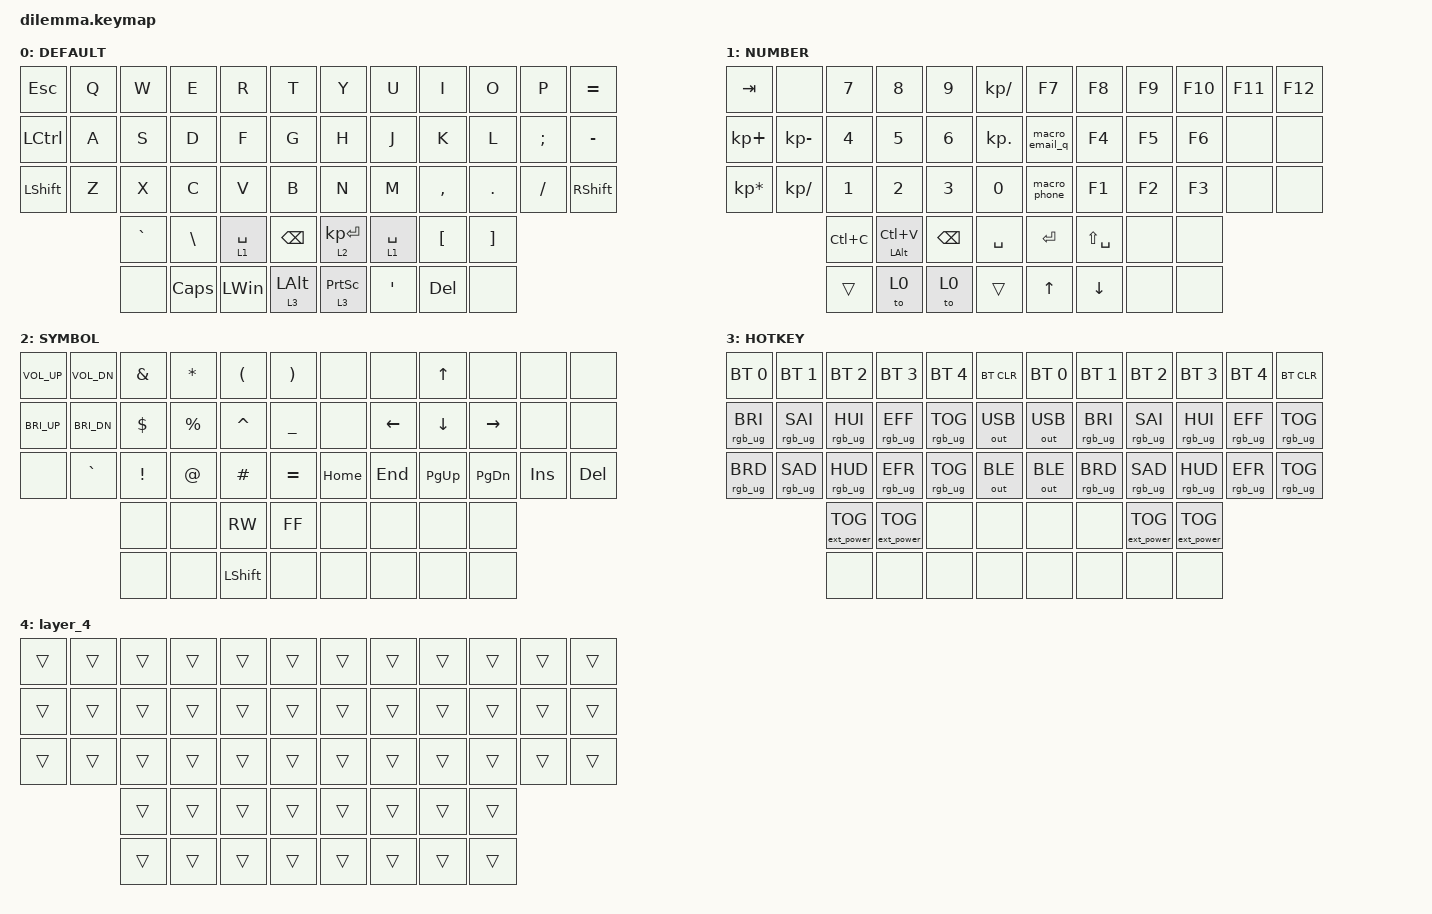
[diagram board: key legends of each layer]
#include <behaviors.dtsi>
#include <dt-bindings/zmk/bt.h>
#include <dt-bindings/zmk/ext_power.h>
#include <dt-bindings/zmk/keys.h>
#include <dt-bindings/zmk/outputs.h>
#include <dt-bindings/zmk/rgb.h>

#define DEFAULT 0
#define NUMBER  1
#define SYMBOL  2
#define HOTKEY  3

#define AS(keycode) &as LS(keycode) keycode

/ {
    behaviors {
        td0: tap_dance_0 {
            compatible = "zmk,behavior-tap-dance";
            label = "TAP_DANCE_0";
            #binding-cells = <0>;
            tapping-term-ms = <200>;
            bindings = <&kp ESC>, <&kp TAB>;
        };
    };

    behaviors {
        as: auto_shift {
            compatible = "zmk,behavior-hold-tap";
            label = "AUTO_SHIFT";
            #binding-cells = <2>;
            tapping-term-ms = <200>;
            quick-tap-ms = <0>;
            flavor = "tap-preferred";
            bindings = <&kp>, <&kp>;
        };

        modcp: mod_copy {
            compatible = "zmk,behavior-mod-morph";
            label = "MOD_COPY";
            #binding-cells = <0>;
            bindings = <&as LS(C) C>, <&kp C>;

            mods = <(LGUI | RGUI)>;
        };
    };

    macros {
        macro_phone: macro_phone {
            // 1351

            label = "MACRO_PHONE";
            compatible = "zmk,behavior-macro";
            #binding-cells = <0>;
            bindings = <&kp N1 &kp N3 &kp N5 &kp N1>;
        };

        macro_email_q: macro_email_q {
            // 2894512440@qq.com

            label = "MACRO_EMAIL_QQ";
            compatible = "zmk,behavior-macro";
            #binding-cells = <0>;
            bindings = <&kp N2 &kp N8 &kp N9 &kp N4 &kp N5 &kp N1 &kp N2 &kp N4 &kp N4 &kp N0 &kp AT &kp Q &kp Q &kp DOT &kp C &kp O &kp M>;
        };

        macro_email_g: macro_email_g {
            // 135115

            compatible = "zmk,behavior-macro";
            label = "MACRO_EMAIL_GMAIL";
            #binding-cells = <0>;
            bindings = <&kp N1 &kp N3 &kp N5 &kp N1 &kp N1 &kp N5>;
        };
    };

    keymap {
        compatible = "zmk,keymap";

        default_layer {
            label = "DEFAULT";
            bindings = <
&kp ESCAPE        &kp Q  &kp W      &kp E     &kp R         &kp T           &kp Y              &kp U        &kp I      &kp O     &kp P     &kp EQUAL
&kp LEFT_CONTROL  &kp A  &kp S      &kp D     &kp F         &kp G           &kp H              &kp J        &kp K      &kp L     &kp SEMI  &kp MINUS
&kp LEFT_SHIFT    &kp Z  &kp X      &kp C     &kp V         &kp B           &kp N              &kp M        &kp COMMA  &kp DOT   &kp FSLH  &kp RSHIFT
                         &kp GRAVE  &kp BSLH  &lt 1 SPACE   &kp BACKSPACE   &lt 2 KP_ENTER     &lt 1 SPACE  &kp LBKT   &kp RBKT
                         &none      &kp CAPS  &kp LEFT_WIN  &lt 3 LEFT_ALT  &lt 3 PRINTSCREEN  &kp SQT      &kp DEL    &none
            >;
        };

        number_layer {
            label = "NUMBER";
            bindings = <
&kp TAB          &none          &kp N7        &kp N8          &kp N9    &kp KP_SLASH  &kp F7          &kp F8         &kp F9  &kp F10  &kp F11  &kp F12
&kp KP_PLUS      &kp KP_MINUS   &kp N4        &kp N5          &kp N6    &kp KP_DOT    &macro_email_q  &kp F4         &kp F5  &kp F6   &none    &none
&kp KP_MULTIPLY  &kp KP_DIVIDE  &kp NUMBER_1  &kp N2          &kp N3    &kp N0        &macro_phone    &kp F1         &kp F2  &kp F3   &none    &none
                                &kp LC(C)     &mt LALT LC(V)  &kp BSPC  &kp SPACE     &kp ENTER       &kp LS(SPACE)  &none   &none
                                &trans        &to 0           &to 0     &trans        &kp UP          &kp DOWN       &none   &none
            >;
        };

        symbol_layer {
            label = "SYMBOL";
            bindings = <
&kp C_VOL_UP  &kp C_VOL_DN  &kp AMPS  &kp STAR   &kp LPAR   &kp RPAR   &none     &none     &kp UP       &none          &none    &none
&kp C_BRI_UP  &kp C_BRI_DN  &kp DLLR  &kp PRCNT  &kp CARET  &kp UNDER  &none     &kp LEFT  &kp DOWN     &kp RIGHT      &none    &none
&none         &kp GRAVE     &kp EXCL  &kp AT     &kp HASH   &kp EQUAL  &kp HOME  &kp END   &kp PAGE_UP  &kp PAGE_DOWN  &kp INS  &kp DELETE
                            &none     &none      &kp C_RW   &kp C_FF   &none     &none     &none        &none
                            &none     &none      &kp LSHFT  &none      &none     &none     &none        &none
            >;
        };

        hotkey_layer {
            label = "HOTKEY";
            bindings = <
&bt BT_SEL 0     &bt BT_SEL 1     &bt BT_SEL 2       &bt BT_SEL 3       &bt BT_SEL 4     &bt BT_CLR    &bt BT_SEL 0  &bt BT_SEL 1     &bt BT_SEL 2       &bt BT_SEL 3       &bt BT_SEL 4     &bt BT_CLR
&rgb_ug RGB_BRI  &rgb_ug RGB_SAI  &rgb_ug RGB_HUI    &rgb_ug RGB_EFF    &rgb_ug RGB_TOG  &out OUT_USB  &out OUT_USB  &rgb_ug RGB_BRI  &rgb_ug RGB_SAI    &rgb_ug RGB_HUI    &rgb_ug RGB_EFF  &rgb_ug RGB_TOG
&rgb_ug RGB_BRD  &rgb_ug RGB_SAD  &rgb_ug RGB_HUD    &rgb_ug RGB_EFR    &rgb_ug RGB_TOG  &out OUT_BLE  &out OUT_BLE  &rgb_ug RGB_BRD  &rgb_ug RGB_SAD    &rgb_ug RGB_HUD    &rgb_ug RGB_EFR  &rgb_ug RGB_TOG
                                  &ext_power EP_TOG  &ext_power EP_TOG  &none            &none         &none         &none            &ext_power EP_TOG  &ext_power EP_TOG
                                  &none              &none              &none            &none         &none         &none            &none              &none
            >;
        };

        layer_4 {
            bindings = <
&trans  &trans  &trans  &trans  &trans  &trans  &trans  &trans  &trans  &trans  &trans  &trans
&trans  &trans  &trans  &trans  &trans  &trans  &trans  &trans  &trans  &trans  &trans  &trans
&trans  &trans  &trans  &trans  &trans  &trans  &trans  &trans  &trans  &trans  &trans  &trans
                &trans  &trans  &trans  &trans  &trans  &trans  &trans  &trans
                &trans  &trans  &trans  &trans  &trans  &trans  &trans  &trans
            >;
        };
    };
};
